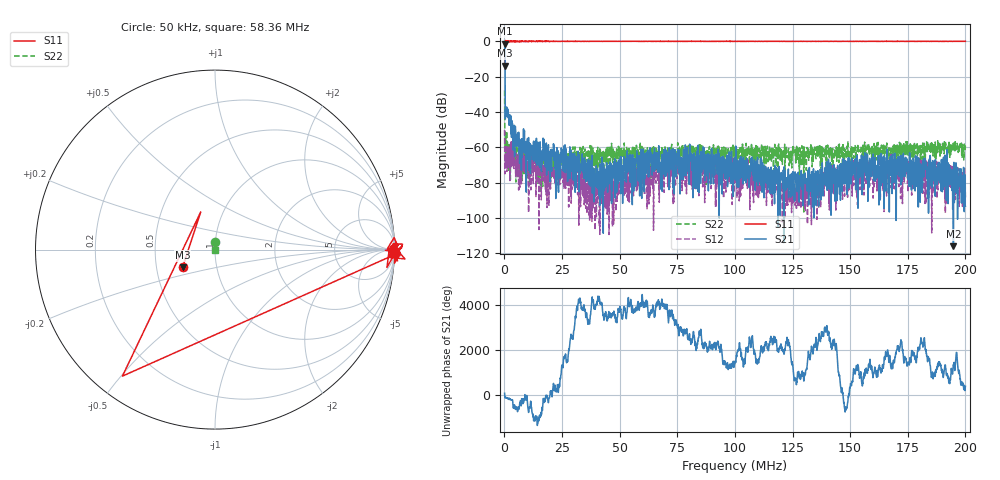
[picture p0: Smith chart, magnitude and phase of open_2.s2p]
! 26-Feb-26 2:12:31 PM
! E:\VNA_MEASUREMENTS\CAL_ENDS\OPEN_2.S2P
! CHANNEL.1
! TR.MEASUREMENT
! CORRECTED.DATA
# GHZ S RI R 50.0
! FREQ.GHZ  S11RE  S11IM  S21RE  S21IM  S12RE  S12IM  S22RE  S22IM
!; PortSelection: Port_12
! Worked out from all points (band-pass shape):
!   2000 points, 50 kHz to 200 MHz, reference 50 ohm
!   highest |S21| = -1.41 dB at 50 kHz (marker M1); lowest = -115.9 dB at 194.8 MHz (marker M2)
!   |S21| within 3 dB of the highest: start of sweep to 115.6 kHz; 239.4 kHz to 250.5 kHz (11.16 kHz wide, 4.55 % of centre)
!   lowest |S11| = -13.8 dB at 50 kHz (marker M3), VSWR 1.52, Z = 34.1 - j6.99 ohm
!   |S11| at or under -10 dB: start of sweep to 175.3 kHz
!   |S22| runs from -96.6 to -27.8 dB; largest |S21 - S12| = 0.85
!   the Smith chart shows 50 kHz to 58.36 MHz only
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5e-05  -0.1803 -0.0981  0.3488 0.7754  -0.00251 -0.00179  0.000573 0.0409
0.001350325  0.9875 0.0145  -0.0117 -0.00388  3.19e-05 -0.000523  -0.000491 0.000643
0.007051751  0.9969 0.00124  0.000229 -0.0014  -0.000181 0.000275  0.00029 -0.000362
0.0156539  1.005 -0.0131  -0.00041 0.000411  0.000277 -0.00014  -8.7e-06 -5.68e-05
0.01775443  0.986 -0.0132  -0.000264 -9.83e-05  -4.63e-05 4.61e-05  3.07e-05 -0.000468
0.0192548  1.004 -0.0131  -0.000731 -0.000106  -2.13e-05 8.4e-06  0.000683 -5.95e-05
0.03345835  0.9944 -0.0159  0.000212 -0.000227  -6.51e-05 -3.2e-05  0.000687 0.000294
0.03995998  1.001 -0.0167  3.45e-05 6.55e-05  -1.5e-05 -3.41e-05  0.000556 -6.9e-06
0.06676668  1.005 -0.0285  0.000153 -0.000309  -0.000264 -8.63e-05  0.000551 7.34e-05
0.07656913  0.9967 -0.0317  -0.000166 0.000496  0.000289 -8.4e-06  0.000469 0.000194
0.08017004  1.002 -0.0278  1.99e-05 8.75e-05  3.13e-05 8.28e-05  0.000447 0.000541
0.08227056  0.9972 -0.0252  0.00014 0.000678  6.57e-05 2.26e-05  0.000735 0.00057
0.100075  1.007 -0.0349  0.000393 0.000356  -6e-06 0.000196  0.000145 0.000596
0.1333833  0.9992 -0.0486  8.97e-05 -3.7e-05  -3.13e-05 8.13e-05  0.000124 0.000735
0.1522881  0.9956 -0.0604  0.0003 -0.000209  0.000319 -2.75e-05  0.000583 0.000545
0.1666917  1.006 -0.0698  -0.000256 0.000335  -0.000123 7.98e-05  0.000445 0.000447
0.1803951  1.003 -0.0663  -1.5e-06 2.8e-05  7.12e-05 -9.99e-05  0.000784 4.88e-05
0.1824956  1.003 -0.0704  0.000407 -1.9e-06  7.1e-06 2.49e-05  0.000239 0.000388
0.1873968  0.9983 -0.0749  0.00011 0.000228  -2.11e-05 0.000403  0.000819 0.000501
0.1913978  0.995 -0.0758  -0.000107 0.000244  5.09e-05 5.15e-05  0.000795 0.00109
0.1947987  0.9964 -0.0739  0 -1.6e-06  -9.31e-05 -5.99e-05  0.000869 0.001
0.2  0.9991 -0.0759  2.06e-05 6.2e-06  -3.69e-05 3.9e-06  0.000512 0.000904
